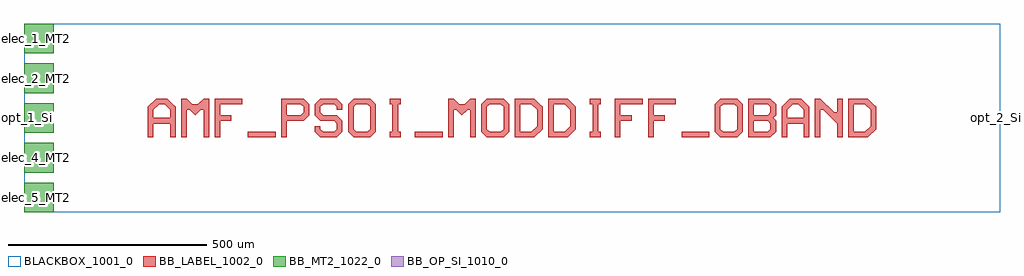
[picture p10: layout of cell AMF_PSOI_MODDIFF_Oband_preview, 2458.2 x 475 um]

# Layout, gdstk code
import gdstk
lib = gdstk.Library(unit=1e-6, precision=1e-09)
def R(c, l, rs):  # rectangles x0, y0, x1, y1
    for r in rs: c.add(gdstk.rectangle(r[:2], r[2:], *l))
def A(c, l, x, y, w, h, nx, ny, dx, dy):  # array of equal rectangles
    R(c, l, [(x+i*dx, y+j*dy, x+i*dx+w, y+j*dy+h) for i in range(nx) for j in range(ny)])
def P(c, l, *ps):  # polygons
    for p in ps: c.add(gdstk.Polygon(p, *l))
BLACKBOX_1001_0 = (1001, 0)
BB_LABEL_1002_0 = (1002, 0)
BB_OP_SI_1010_0 = (1010, 0)
BB_MT2_1022_0 = (1022, 0)

amf_psoi_moddiff_oband_p = lib.new_cell('AMF_PSOI_MODDIFF_Oband_preview')
R(amf_psoi_moddiff_oband_p, BLACKBOX_1001_0, [(0,-237.5,2458.2,237.5)])
R(amf_psoi_moddiff_oband_p, BB_LABEL_1002_0, [(564.1,-49,634.1,-35), (984.1,-49,1054.1,-35), (1656.1,-49,1726.1,-35)])
P(amf_psoi_moddiff_oband_p, BB_LABEL_1002_0, [(312.1,-49),(312.1,28),(333.1,49),(361.1,49),(375.1,35),(340.1,35),(326.1,21),(326.1,0),(368.1,0),(368.1,21),(354.1,35),(375.1,35),(382.1,28),(382.1,-49),(368.1,-49),(368.1,-14),(326.1,-14),(326.1,-49)],
  [(396.1,-49),(396.1,49),(410.1,49),(424.1,35),(438.1,35),(452.1,49),(466.1,49),(466.1,-49),(452.1,-49),(452.1,21),(445.1,21),(431.1,7),(417.1,21),(410.1,21),(410.1,-49)],
  [(480.1,-49),(480.1,49),(550.1,49),(550.1,35),(494.1,35),(494.1,7),(522.1,7),(522.1,-7),(494.1,-7),(494.1,-49)],
  [(648.1,-49),(648.1,49),(704.1,49),(718.1,35),(718.1,7),(704.1,-7),(662.1,-7),(662.1,7),(697.1,7),(704.1,14),(704.1,28),(697.1,35),(662.1,35),(662.1,-49)],
  [(746.1,-49),(732.1,-35),(732.1,-21),(746.1,-21),(746.1,-28),(753.1,-35),(781.1,-35),(788.1,-28),(788.1,-14),(781.1,-7),(746.1,-7),(732.1,7),(732.1,35),(746.1,49),(788.1,49),(802.1,35),(802.1,21),(788.1,21),(788.1,28),(781.1,35),(753.1,35),(746.1,28),(746.1,14),(753.1,7),(788.1,7),(802.1,-7),(802.1,-35),(788.1,-49)],
  [(830.1,-49),(816.1,-35),(816.1,35),(830.1,49),(872.1,49),(886.1,35),(886.1,0),(872.1,0),(872.1,28),(865.1,35),(837.1,35),(830.1,28),(830.1,-28),(837.1,-35),(865.1,-35),(872.1,-28),(872.1,0),(886.1,0),(886.1,-35),(872.1,-49)],
  [(921.1,-49),(921.1,-35),(928.1,-35),(928.1,35),(921.1,35),(921.1,49),(949.1,49),(949.1,35),(942.1,35),(942.1,-35),(949.1,-35),(949.1,-49)],
  [(1068.1,-49),(1068.1,49),(1082.1,49),(1096.1,35),(1110.1,35),(1124.1,49),(1138.1,49),(1138.1,-49),(1124.1,-49),(1124.1,21),(1117.1,21),(1103.1,7),(1089.1,21),(1082.1,21),(1082.1,-49)],
  [(1166.1,-49),(1152.1,-35),(1152.1,35),(1166.1,49),(1208.1,49),(1222.1,35),(1222.1,0),(1208.1,0),(1208.1,28),(1201.1,35),(1173.1,35),(1166.1,28),(1166.1,-28),(1173.1,-35),(1201.1,-35),(1208.1,-28),(1208.1,0),(1222.1,0),(1222.1,-35),(1208.1,-49)],
  [(1236.1,-49),(1236.1,49),(1285.1,49),(1299.1,35),(1250.1,35),(1250.1,-35),(1278.1,-35),(1292.1,-21),(1292.1,21),(1278.1,35),(1299.1,35),(1306.1,28),(1306.1,-28),(1285.1,-49)],
  [(1320.1,-49),(1320.1,49),(1369.1,49),(1383.1,35),(1334.1,35),(1334.1,-35),(1362.1,-35),(1376.1,-21),(1376.1,21),(1362.1,35),(1383.1,35),(1390.1,28),(1390.1,-28),(1369.1,-49)],
  [(1425.1,-49),(1425.1,-35),(1432.1,-35),(1432.1,35),(1425.1,35),(1425.1,49),(1453.1,49),(1453.1,35),(1446.1,35),(1446.1,-35),(1453.1,-35),(1453.1,-49)],
  [(1488.1,-49),(1488.1,49),(1558.1,49),(1558.1,35),(1502.1,35),(1502.1,7),(1530.1,7),(1530.1,-7),(1502.1,-7),(1502.1,-49)],
  [(1572.1,-49),(1572.1,49),(1642.1,49),(1642.1,35),(1586.1,35),(1586.1,7),(1614.1,7),(1614.1,-7),(1586.1,-7),(1586.1,-49)],
  [(1754.1,-49),(1740.1,-35),(1740.1,35),(1754.1,49),(1796.1,49),(1810.1,35),(1810.1,0),(1796.1,0),(1796.1,28),(1789.1,35),(1761.1,35),(1754.1,28),(1754.1,-28),(1761.1,-35),(1789.1,-35),(1796.1,-28),(1796.1,0),(1810.1,0),(1810.1,-35),(1796.1,-49)],
  [(1824.1,-49),(1824.1,49),(1880.1,49),(1894.1,35),(1838.1,35),(1838.1,7),(1873.1,7),(1880.1,14),(1880.1,28),(1873.1,35),(1894.1,35),(1894.1,7),(1887.1,0),(1894.1,-7),(1838.1,-7),(1838.1,-35),(1873.1,-35),(1880.1,-28),(1880.1,-14),(1873.1,-7),(1894.1,-7),(1894.1,-35),(1880.1,-49)],
  [(1908.1,-49),(1908.1,28),(1929.1,49),(1957.1,49),(1971.1,35),(1936.1,35),(1922.1,21),(1922.1,0),(1964.1,0),(1964.1,21),(1950.1,35),(1971.1,35),(1978.1,28),(1978.1,-49),(1964.1,-49),(1964.1,-14),(1922.1,-14),(1922.1,-49)],
  [(1992.1,-49),(1992.1,49),(2006.1,49),(2041.1,14),(2048.1,14),(2048.1,49),(2062.1,49),(2062.1,-49),(2048.1,-49),(2048.1,-14),(2013.1,21),(2006.1,21),(2006.1,-49)],
  [(2076.1,-49),(2076.1,49),(2125.1,49),(2139.1,35),(2090.1,35),(2090.1,-35),(2118.1,-35),(2132.1,-21),(2132.1,21),(2118.1,35),(2139.1,35),(2146.1,28),(2146.1,-28),(2125.1,-49)])
R(amf_psoi_moddiff_oband_p, BB_OP_SI_1010_0, [(0,-0.205,0.41,0.205), (2457.79,-0.205,2458.2,0.205)])
A(amf_psoi_moddiff_oband_p, BB_MT2_1022_0, 0, -237.5, 75, 75, 1, 5, 0, 100)
amf_psoi_moddiff_oband_p.add(gdstk.Label('opt_2_Si', (2458.2,0), layer=1010, texttype=0))
amf_psoi_moddiff_oband_p.add(gdstk.Label('opt_1_Si', (0,0), layer=1010, texttype=0))
amf_psoi_moddiff_oband_p.add(gdstk.Label('elec_1_MT2', (0,200), layer=1022, texttype=0))
amf_psoi_moddiff_oband_p.add(gdstk.Label('elec_2_MT2', (0,100), layer=1022, texttype=0))
amf_psoi_moddiff_oband_p.add(gdstk.Label('elec_3_MT2', (0,0), layer=1022, texttype=0))
amf_psoi_moddiff_oband_p.add(gdstk.Label('elec_4_MT2', (0,-100), layer=1022, texttype=0))
amf_psoi_moddiff_oband_p.add(gdstk.Label('elec_5_MT2', (0,-200), layer=1022, texttype=0))

lib.write_gds('AMF_PSOI_MODDIFF_Oband_preview.gds')
